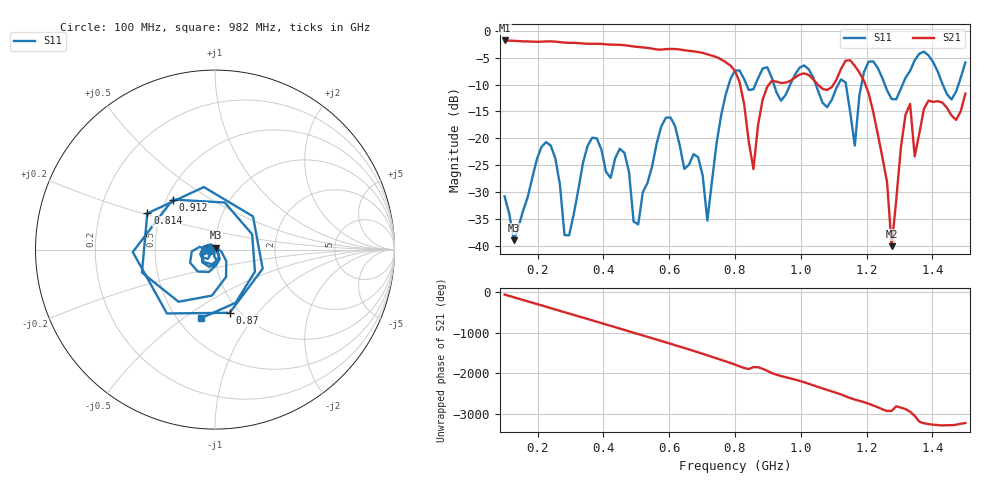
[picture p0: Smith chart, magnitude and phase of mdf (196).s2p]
! NanoVNA-App
! Date: 2025-09-25 15:39:57
! Start: 100MHz Stop: 1,5GHz Points: 101
! S-Parameter data: F S11 S21 S12 S22
# Hz S RI R 50
!  Frequency  S11_Real  S11_Imag  S21_Real  S21_Imag  S12_Real  S12_Imag  S22_Real  S22_Imag
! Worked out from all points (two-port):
!   101 points, 100 MHz to 1.5 GHz, reference 50 ohm
!   highest |S21| = -1.80 dB at 100 MHz (marker M1); lowest = -40.0 dB at 1.276 GHz (marker M2)
!   |S21| within 3 dB of the highest: start of sweep to 739 MHz
!   lowest |S11| = -39.0 dB at 128 MHz (marker M3), VSWR 1.02, Z = 50.3 + j1.08 ohm
!   |S11| at or under -10 dB: start of sweep to 781 MHz; 1.046 GHz to 1.114 GHz (68.1 MHz wide, 6.31 % of centre); 1.255 GHz to 1.309 GHz (54.04 MHz wide, 4.21 % of centre) (the widest 3 of 7)
!   S12 and S22 are empty: the file has one direction only
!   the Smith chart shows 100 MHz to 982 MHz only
!   S11 on the Smith chart (normalised r, x): 100 MHz: 0.94, -0.01; 814 MHz: 0.42, +0.21; 870 MHz: 0.90, -0.73; 912 MHz: 0.54, +0.35; 982 MHz: 0.65, -0.58
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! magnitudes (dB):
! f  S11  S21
! 100 MHz  -30.8  -1.8
! 128 MHz  -39.0  -1.9
! 212 MHz  -21.6  -2.0
! 282 MHz  -38.0  -2.2
! 338 MHz  -24.6  -2.4
! 464 MHz  -22.7  -2.7
! 506 MHz  -36.0  -3.0
! 576 MHz  -17.8  -3.5
! 716 MHz  -35.3  -4.4
! 800 MHz  -7.4  -7.5
! 814 MHz  -7.4  -9.6
! 856 MHz  -10.9  -25.7
! 870 MHz  -8.8  -17.5
! 912 MHz  -8.8  -9.3
! 982 MHz  -8.2  -8.7
! 1.038 GHz  -8.7  -9.1
! 1.164 GHz  -21.3  -6.5
! 1.192 GHz  -7.6  -9.3
! 1.276 GHz  -12.7  -40.0
! 1.332 GHz  -7.5  -13.6
! 1.346 GHz  -5.5  -23.3
! 1.5 GHz  -5.9  -11.7
